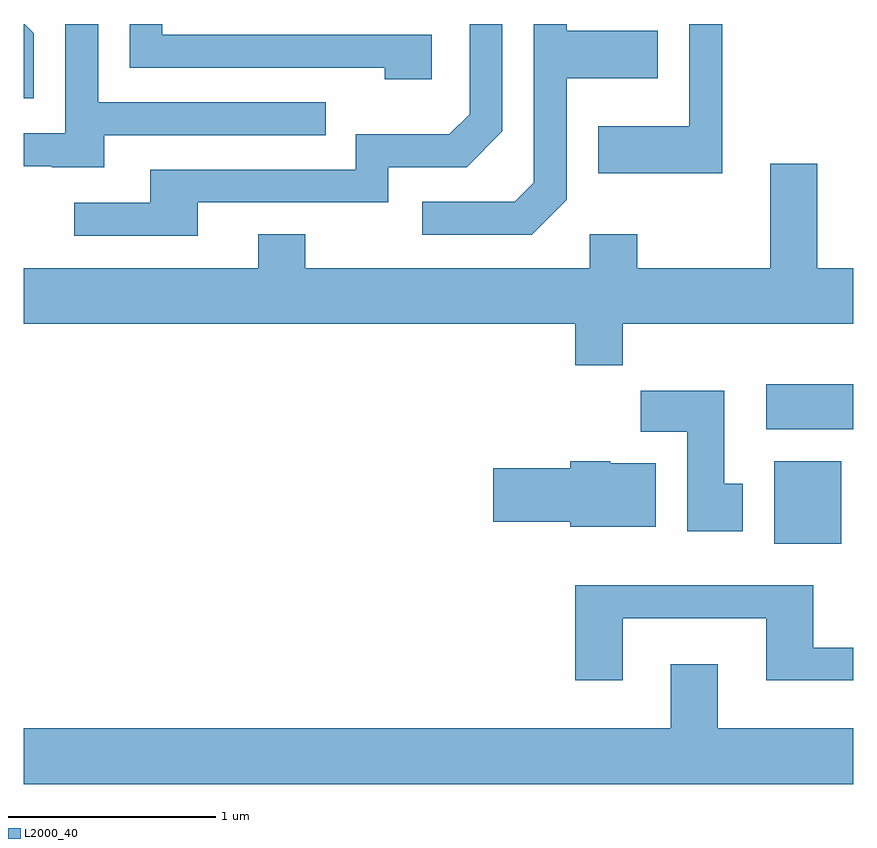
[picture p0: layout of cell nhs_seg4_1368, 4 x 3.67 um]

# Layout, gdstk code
import gdstk
lib = gdstk.Library(unit=1e-6, precision=1e-09)
def R(c, l, rs):  # rectangles x0, y0, x1, y1
    for r in rs: c.add(gdstk.rectangle(r[:2], r[2:], *l))
def P(c, l, *ps):  # polygons
    for p in ps: c.add(gdstk.Polygon(p, *l))
L2000_40 = (2000, 40)

nhs_seg4_1368 = lib.new_cell('nhs_seg4_1368')
R(nhs_seg4_1368, L2000_40, [(229.231,1271.476,229.554,1271.874), (229.191,1272.026,229.611,1272.244)])
P(nhs_seg4_1368, L2000_40, [(225.659,1273.937),(225.614,1273.982),(225.611,1273.982),(225.611,1273.623),(225.659,1273.623)],
  [(226.449,1273.121),(227.369,1273.121),(227.369,1273.291),(227.747,1273.291),(227.919,1273.464),(227.919,1273.982),(227.761,1273.982),(227.761,1273.547),(227.664,1273.449),(227.211,1273.449),(227.211,1273.279),(226.221,1273.279),(226.221,1273.119),(225.853,1273.119),(225.853,1272.961),(226.449,1272.961)],
  [(227.579,1273.929),(226.279,1273.929),(226.279,1273.982),(226.121,1273.982),(226.121,1273.771),(227.351,1273.771),(227.351,1273.716),(227.579,1273.716)],
  [(228.979,1273.982),(228.821,1273.982),(228.821,1273.489),(228.381,1273.489),(228.381,1273.261),(228.979,1273.261)],
  [(228.229,1273.134),(228.229,1273.721),(228.669,1273.721),(228.669,1273.949),(228.229,1273.949),(228.229,1273.982),(228.071,1273.982),(228.071,1273.217),(227.979,1273.124),(227.533,1273.124),(227.533,1272.966),(228.062,1272.966)],
  [(225.999,1273.446),(227.068,1273.446),(227.068,1273.604),(225.969,1273.604),(225.969,1273.982),(225.811,1273.982),(225.811,1273.454),(225.611,1273.454),(225.611,1273.296),(225.745,1273.296),(225.745,1273.291),(225.999,1273.291)],
  [(228.499,1272.536),(229.611,1272.536),(229.611,1272.804),(229.439,1272.804),(229.439,1273.309),(229.211,1273.309),(229.211,1272.804),(228.569,1272.804),(228.569,1272.969),(228.341,1272.969),(228.341,1272.804),(226.969,1272.804),(226.969,1272.969),(226.741,1272.969),(226.741,1272.804),(225.611,1272.804),(225.611,1272.536),(228.271,1272.536),(228.271,1272.336),(228.499,1272.336)],
  [(229.079,1271.764),(228.989,1271.764),(228.989,1272.214),(228.586,1272.214),(228.586,1272.016),(228.811,1272.016),(228.811,1271.536),(229.079,1271.536)],
  [(228.659,1271.864),(228.44,1271.864),(228.44,1271.874),(228.246,1271.874),(228.246,1271.839),(227.876,1271.839),(227.876,1271.581),(228.246,1271.581),(228.246,1271.556),(228.659,1271.556)],
  [(228.499,1271.116),(229.191,1271.116),(229.191,1270.816),(229.611,1270.816),(229.611,1270.974),(229.419,1270.974),(229.419,1271.274),(228.271,1271.274),(228.271,1270.816),(228.499,1270.816)],
  [(229.611,1270.584),(228.959,1270.584),(228.959,1270.894),(228.731,1270.894),(228.731,1270.584),(225.611,1270.584),(225.611,1270.316),(229.611,1270.316)])

lib.write_gds('nhs_seg4_1368.gds')
